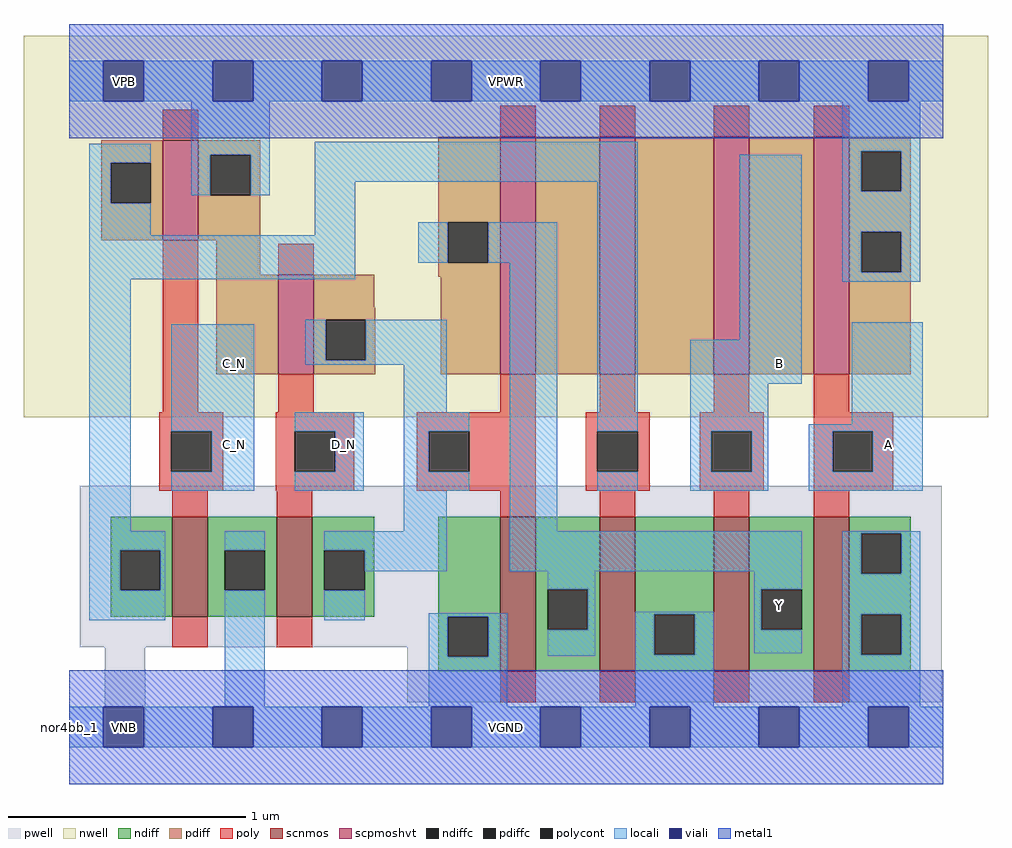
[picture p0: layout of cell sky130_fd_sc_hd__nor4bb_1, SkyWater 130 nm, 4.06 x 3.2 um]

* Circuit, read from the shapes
.subckt sky130_fd_sc_hd__nor4bb_1 A B C_N D_N VGND VNB VPB VPWR Y
XM1 VGND C_N n1 VNB sky130_fd_pr__nfet_01v8 w=0.42 l=0.15
XM2 n2 D_N VGND VNB sky130_fd_pr__nfet_01v8 w=0.42 l=0.15
XM3 Y n2 VGND VNB sky130_fd_pr__nfet_01v8 w=0.65 l=0.15
XM4 VGND n1 Y VNB sky130_fd_pr__nfet_01v8 w=0.65 l=0.15
XM5 Y B VGND VNB sky130_fd_pr__nfet_01v8 w=0.65 l=0.15
XM6 VGND A Y VNB sky130_fd_pr__nfet_01v8 w=0.65 l=0.15
XM7 VPWR C_N n1 VPB sky130_fd_pr__pfet_01v8_hvt w=0.42 l=0.15
XM8 n2 D_N VPWR VPB sky130_fd_pr__pfet_01v8_hvt w=0.42 l=0.15
XM9 n3 n2 Y VPB sky130_fd_pr__pfet_01v8_hvt w=1 l=0.15
XM10 n4 n1 n3 VPB sky130_fd_pr__pfet_01v8_hvt w=1 l=0.15
XM11 n5 B n4 VPB sky130_fd_pr__pfet_01v8_hvt w=1 l=0.15
XM12 VPWR A n5 VPB sky130_fd_pr__pfet_01v8_hvt w=1 l=0.15
.ends

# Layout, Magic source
magic
tech sky130A
magscale 1 2
<< nwell >>
rect -38 261 774 582
<< pwell >>
rect 9 67 735 203
rect 30 -17 64 67
rect 285 21 735 67
<< scnmos >>
rect 87 93 117 177
rect 175 93 205 177
rect 363 47 393 177
rect 447 47 477 177
rect 543 47 573 177
rect 627 47 657 177
<< scpmoshvt >>
rect 79 410 109 494
rect 176 297 206 381
rect 363 297 393 497
rect 447 297 477 497
rect 543 297 573 497
rect 627 297 657 497
<< ndiff >>
rect 35 149 87 177
rect 35 115 43 149
rect 77 115 87 149
rect 35 93 87 115
rect 117 149 175 177
rect 117 115 131 149
rect 165 115 175 149
rect 117 93 175 115
rect 205 149 257 177
rect 205 115 215 149
rect 249 115 257 149
rect 205 93 257 115
rect 311 93 363 177
rect 311 59 319 93
rect 353 59 363 93
rect 311 47 363 59
rect 393 116 447 177
rect 393 82 403 116
rect 437 82 447 116
rect 393 47 447 82
rect 477 95 543 177
rect 477 61 493 95
rect 527 61 543 95
rect 477 47 543 61
rect 573 116 627 177
rect 573 82 583 116
rect 617 82 627 116
rect 573 47 627 82
rect 657 163 709 177
rect 657 129 667 163
rect 701 129 709 163
rect 657 95 709 129
rect 657 61 667 95
rect 701 61 709 95
rect 657 47 709 61
<< pdiff >>
rect 27 475 79 494
rect 27 441 35 475
rect 69 441 79 475
rect 27 410 79 441
rect 109 482 161 494
rect 109 448 119 482
rect 153 448 161 482
rect 109 410 161 448
rect 124 381 161 410
rect 311 425 363 497
rect 311 391 319 425
rect 353 391 363 425
rect 124 297 176 381
rect 206 353 257 381
rect 311 379 363 391
rect 206 343 258 353
rect 206 309 216 343
rect 250 309 258 343
rect 206 297 258 309
rect 313 297 363 379
rect 393 297 447 497
rect 477 297 543 497
rect 573 297 627 497
rect 657 485 709 497
rect 657 451 667 485
rect 701 451 709 485
rect 657 417 709 451
rect 657 383 667 417
rect 701 383 709 417
rect 657 297 709 383
<< ndiffc >>
rect 43 115 77 149
rect 131 115 165 149
rect 215 115 249 149
rect 319 59 353 93
rect 403 82 437 116
rect 493 61 527 95
rect 583 82 617 116
rect 667 129 701 163
rect 667 61 701 95
<< pdiffc >>
rect 35 441 69 475
rect 119 448 153 482
rect 319 391 353 425
rect 216 309 250 343
rect 667 451 701 485
rect 667 383 701 417
<< poly >>
rect 79 494 109 520
rect 363 497 393 523
rect 447 497 477 523
rect 543 497 573 523
rect 627 497 657 523
rect 79 265 109 410
rect 176 381 206 407
rect 176 265 206 297
rect 363 265 393 297
rect 447 265 477 297
rect 543 265 573 297
rect 627 265 657 297
rect 76 249 130 265
rect 76 215 86 249
rect 120 215 130 249
rect 76 199 130 215
rect 174 249 240 265
rect 174 215 190 249
rect 224 215 240 249
rect 174 199 240 215
rect 293 249 393 265
rect 293 215 303 249
rect 337 215 393 249
rect 293 199 393 215
rect 435 249 489 265
rect 435 215 445 249
rect 479 215 489 249
rect 435 199 489 215
rect 531 249 585 265
rect 531 215 541 249
rect 575 215 585 249
rect 531 199 585 215
rect 627 249 694 265
rect 627 215 643 249
rect 677 215 694 249
rect 627 199 694 215
rect 87 177 117 199
rect 175 177 205 199
rect 363 177 393 199
rect 447 177 477 199
rect 543 177 573 199
rect 627 177 657 199
rect 87 67 117 93
rect 175 67 205 93
rect 363 21 393 47
rect 447 21 477 47
rect 543 21 573 47
rect 627 21 657 47
<< polycont >>
rect 86 215 120 249
rect 190 215 224 249
rect 303 215 337 249
rect 445 215 479 249
rect 541 215 575 249
rect 643 215 677 249
<< locali >>
rect 0 527 29 561
rect 63 527 121 561
rect 155 527 213 561
rect 247 527 305 561
rect 339 527 397 561
rect 431 527 489 561
rect 523 527 581 561
rect 615 527 673 561
rect 707 527 736 561
rect 17 475 69 491
rect 17 441 35 475
rect 103 482 169 527
rect 103 448 119 482
rect 153 448 169 482
rect 207 459 479 493
rect 651 485 717 527
rect 17 414 69 441
rect 207 414 241 459
rect 17 377 241 414
rect 294 391 319 425
rect 353 391 411 425
rect 17 165 52 377
rect 86 249 156 339
rect 199 309 216 343
rect 250 309 318 343
rect 199 305 318 309
rect 282 265 318 305
rect 120 215 156 249
rect 86 199 156 215
rect 190 249 248 265
rect 224 215 248 249
rect 190 199 248 215
rect 282 249 337 265
rect 282 215 303 249
rect 282 199 337 215
rect 282 165 318 199
rect 17 149 81 165
rect 17 115 43 149
rect 77 115 81 149
rect 17 90 81 115
rect 131 149 165 165
rect 131 17 165 115
rect 215 149 318 165
rect 249 131 318 149
rect 371 165 411 391
rect 445 249 479 459
rect 565 326 617 482
rect 651 451 667 485
rect 701 451 717 485
rect 651 417 717 451
rect 651 383 667 417
rect 701 383 717 417
rect 651 375 717 383
rect 445 199 479 215
rect 523 289 617 326
rect 523 249 589 289
rect 659 255 719 341
rect 523 215 541 249
rect 575 215 589 249
rect 523 199 589 215
rect 623 249 719 255
rect 623 215 643 249
rect 677 215 719 249
rect 623 199 719 215
rect 371 131 617 165
rect 215 90 249 115
rect 403 116 443 131
rect 303 93 369 96
rect 303 59 319 93
rect 353 59 369 93
rect 437 82 443 116
rect 577 116 617 131
rect 403 60 443 82
rect 477 95 543 97
rect 477 61 493 95
rect 527 61 543 95
rect 577 82 583 116
rect 577 62 617 82
rect 651 163 717 165
rect 651 129 667 163
rect 701 129 717 163
rect 651 95 717 129
rect 303 17 369 59
rect 477 17 543 61
rect 651 61 667 95
rect 701 61 717 95
rect 651 17 717 61
rect 0 -17 29 17
rect 63 -17 121 17
rect 155 -17 213 17
rect 247 -17 305 17
rect 339 -17 397 17
rect 431 -17 489 17
rect 523 -17 581 17
rect 615 -17 673 17
rect 707 -17 736 17
<< viali >>
rect 29 527 63 561
rect 121 527 155 561
rect 213 527 247 561
rect 305 527 339 561
rect 397 527 431 561
rect 489 527 523 561
rect 581 527 615 561
rect 673 527 707 561
rect 29 -17 63 17
rect 121 -17 155 17
rect 213 -17 247 17
rect 305 -17 339 17
rect 397 -17 431 17
rect 489 -17 523 17
rect 581 -17 615 17
rect 673 -17 707 17
<< metal1 >>
rect 0 561 736 592
rect 0 527 29 561
rect 63 527 121 561
rect 155 527 213 561
rect 247 527 305 561
rect 339 527 397 561
rect 431 527 489 561
rect 523 527 581 561
rect 615 527 673 561
rect 707 527 736 561
rect 0 496 736 527
rect 0 17 736 48
rect 0 -17 29 17
rect 63 -17 121 17
rect 155 -17 213 17
rect 247 -17 305 17
rect 339 -17 397 17
rect 431 -17 489 17
rect 523 -17 581 17
rect 615 -17 673 17
rect 707 -17 736 17
rect 0 -48 736 -17
<< labels >>
flabel locali s 673 221 707 255 0 FreeSans 400 0 0 0 A
port 1 nsew signal input
flabel locali s 122 289 156 323 0 FreeSans 400 0 0 0 C_N
port 3 nsew signal input
flabel locali s 122 221 156 255 0 FreeSans 400 0 0 0 C_N
port 3 nsew signal input
flabel locali s 214 221 248 255 0 FreeSans 400 0 0 0 D_N
port 4 nsew signal input
flabel locali s 581 289 615 323 0 FreeSans 400 0 0 0 B
port 2 nsew signal input
flabel locali s 581 85 615 119 0 FreeSans 200 0 0 0 Y
port 9 nsew signal output
flabel pwell s 30 -17 64 17 0 FreeSans 200 0 0 0 VNB
port 6 nsew ground bidirectional
flabel nwell s 30 527 64 561 0 FreeSans 200 0 0 0 VPB
port 7 nsew power bidirectional
flabel metal1 s 30 -17 64 17 0 FreeSans 200 0 0 0 VGND
port 5 nsew ground bidirectional abutment
flabel metal1 s 30 527 64 561 0 FreeSans 200 0 0 0 VPWR
port 8 nsew power bidirectional abutment
rlabel comment s 0 0 0 0 4 nor4bb_1
rlabel metal1 s 0 -48 736 48 1 VGND
port 5 nsew ground bidirectional abutment
rlabel metal1 s 0 496 736 592 1 VPWR
port 8 nsew power bidirectional abutment
<< properties >>
string FIXED_BBOX 0 0 736 544
string GDS_END 1182728
string GDS_FILE $PDKPATH/libs.ref/sky130_fd_sc_hd/gds/sky130_fd_sc_hd.gds
string GDS_START 1176368
string LEFclass CORE
string LEFsite unithd
string LEFsymmetry X Y R90
string path 0.000 0.000 3.680 0.000 
<< end >>
